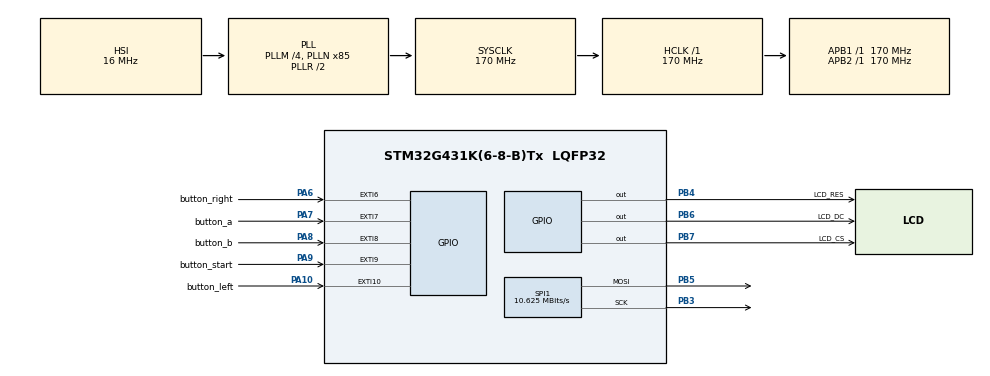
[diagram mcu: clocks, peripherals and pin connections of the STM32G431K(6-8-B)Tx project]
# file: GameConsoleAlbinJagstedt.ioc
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Dma.Request0=SPI1_TX
Dma.SPI1_TX.0.Direction=DMA_MEMORY_TO_PERIPH
Dma.SPI1_TX.0.EventEnable=DISABLE
Dma.SPI1_TX.0.Instance=DMA1_Channel2
Dma.SPI1_TX.0.MemDataAlignment=DMA_MDATAALIGN_BYTE
Dma.SPI1_TX.0.MemInc=DMA_MINC_ENABLE
Dma.SPI1_TX.0.Mode=DMA_NORMAL
Dma.SPI1_TX.0.PeriphDataAlignment=DMA_PDATAALIGN_BYTE
Dma.SPI1_TX.0.PeriphInc=DMA_PINC_DISABLE
Dma.SPI1_TX.0.Polarity=HAL_DMAMUX_REQ_GEN_RISING
Dma.SPI1_TX.0.Priority=DMA_PRIORITY_LOW
Dma.SPI1_TX.0.RequestNumber=1
Dma.SPI1_TX.0.SignalID=NONE
Dma.SPI1_TX.0.SyncEnable=DISABLE
Dma.SPI1_TX.0.SyncPolarity=HAL_DMAMUX_SYNC_NO_EVENT
Dma.SPI1_TX.0.SyncRequestNumber=1
Dma.SPI1_TX.0.SyncSignalID=NONE
Mcu.Family=STM32G4
Mcu.Name=STM32G431K(6-8-B)Tx
Mcu.Package=LQFP32
NUCLEO-G431KB.LD2=true
NUCLEO-G431KB.VCP=true
NVIC.DMA1_Channel2_IRQn=true\:0\:0\:false\:false\:true\:false\:true\:true
NVIC.EXTI15_10_IRQn=true\:0\:0\:false\:false\:true\:true\:true\:true
NVIC.EXTI9_5_IRQn=true\:0\:0\:false\:false\:true\:true\:true\:true
NVIC.PriorityGroup=NVIC_PRIORITYGROUP_4
NVIC.TIM6_DAC_IRQn=true\:0\:0\:false\:false\:true\:true\:true\:true
PA10.GPIO_Label=button_left
PA10.GPIO_ModeDefaultEXTI=GPIO_MODE_IT_FALLING
PA10.GPIO_PuPd=GPIO_PULLUP
PA10.Signal=GPXTI10
PA13.GPIO_Label=T_SWDIO
PA13.Signal=SYS_JTMS-SWDIO
PA14.GPIO_Label=T_SWCLK
PA14.Signal=SYS_JTCK-SWCLK
PA2.Signal=USART2_TX
PA3.Signal=USART2_RX
PA6.GPIO_Label=button_right
PA6.GPIO_ModeDefaultEXTI=GPIO_MODE_IT_FALLING
PA6.GPIO_PuPd=GPIO_PULLUP
PA6.Signal=GPXTI6
PA7.GPIO_Label=button_a
PA7.GPIO_ModeDefaultEXTI=GPIO_MODE_IT_FALLING
PA7.GPIO_PuPd=GPIO_PULLUP
PA7.Signal=GPXTI7
PA8.GPIO_Label=button_b
PA8.GPIO_ModeDefaultEXTI=GPIO_MODE_IT_FALLING
PA8.GPIO_PuPd=GPIO_PULLUP
PA8.Signal=GPXTI8
PA9.GPIO_Label=button_start
PA9.GPIO_ModeDefaultEXTI=GPIO_MODE_IT_FALLING
PA9.GPIO_PuPd=GPIO_PULLUP
PA9.Signal=GPXTI9
PB3.Mode=TX_Only_Simplex_Unidirect_Master
PB3.Signal=SPI1_SCK
PB4.GPIO_Label=LCD_RES
PB4.Signal=GPIO_Output
PB5.Mode=TX_Only_Simplex_Unidirect_Master
PB5.Signal=SPI1_MOSI
PB6.GPIO_Label=LCD_DC
PB6.Signal=GPIO_Output
PB7.GPIO_Label=LCD_CS
PB7.Signal=GPIO_Output
ProjectManager.HeapSize=0x200
ProjectManager.StackSize=0x400
ProjectManager.TargetToolchain=STM32CubeIDE
RCC.ADC12Freq_Value=170000000
RCC.AHBFreq_Value=170000000
RCC.APB1Freq_Value=170000000
RCC.APB1TimFreq_Value=170000000
RCC.APB2Freq_Value=170000000
RCC.APB2TimFreq_Value=170000000
RCC.CortexFreq_Value=170000000
RCC.EXTERNAL_CLOCK_VALUE=12288000
RCC.HCLKFreq_Value=170000000
RCC.HSE_VALUE=8000000
RCC.HSI48_VALUE=48000000
RCC.HSI_VALUE=16000000
RCC.LSE_VALUE=32768
RCC.PLLM=RCC_PLLM_DIV4
RCC.PLLN=85
RCC.SYSCLKFreq_VALUE=170000000
RCC.SYSCLKSource=RCC_SYSCLKSOURCE_PLLCLK
RCC.USBFreq_Value=170000000
RCC.VCOOutputFreq_Value=340000000
SPI1.BaudRatePrescaler=SPI_BAUDRATEPRESCALER_16
SPI1.CalculateBaudRate=10.625 MBits/s
SPI1.DataSize=SPI_DATASIZE_8BIT
SPI1.Direction=SPI_DIRECTION_2LINES
SPI1.Mode=SPI_MODE_MASTER
SPI1.NSSPMode=SPI_NSS_PULSE_DISABLE
SPI1.VirtualType=VM_MASTER
TIM6.PeriodNoDither=1699
TIM6.Prescaler=999
TIM7.PeriodNoDither=311
TIM7.Prescaler=16999
VP_NUCLEO-G431KB_VS_BSP_COMMON.Mode=COMMON
VP_SYS_VS_DBSignals.Mode=DisableDeadBatterySignals
VP_TIM6_VS_ClockSourceINT.Mode=Enable_Timer
VP_TIM7_VS_ClockSourceINT.Mode=Enable_Timer
board=NUCLEO-G431KB

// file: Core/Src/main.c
/* USER CODE BEGIN Header */
/**
  ******************************************************************************
  * @file           : main.c
  * @brief          : Main program body
  ******************************************************************************
  * @attention
  *
  * Copyright (c) 2026 STMicroelectronics.
  * All rights reserved.
  *
  * This software is licensed under terms that can be found in the LICENSE file
  * in the root directory of this software component.
  * If no LICENSE file comes with this software, it is provided AS-IS.
  *
  ******************************************************************************
  */
/* USER CODE END Header */
#include "main.h"

/* USER CODE BEGIN Includes */

#include "st7735.h"
#include "colors.h"
#include "input_handler.h"
#include "snake_game.h"

/* USER CODE END Includes */

COM_InitTypeDef BspCOMInit;

SPI_HandleTypeDef hspi1;
DMA_HandleTypeDef hdma_spi1_tx;

TIM_HandleTypeDef htim6;
TIM_HandleTypeDef htim7;

void SystemClock_Config(void);
static void MX_GPIO_Init(void);
static void MX_DMA_Init(void);
static void MX_TIM6_Init(void);
static void MX_SPI1_Init(void);
static void MX_TIM7_Init(void);

/* USER CODE BEGIN 0 */

void HAL_TIM_PeriodElapsedCallback(TIM_HandleTypeDef *htim){
	if(htim == &htim7)
		snake_game_timer_callback();
	if(htim == &htim6)
		input_handler_timer_callback();
}

void button_press(int button_index){
	switch(button_index){
		case 0:
			snake_game_left_button_pressed();
			break;
		case 1:
			snake_game_right_button_pressed();
			break;
		case 2:
			snake_game_a_button_pressed();
			break;
		case 3:
			snake_game_b_button_pressed();
			break;
		case 4:
			snake_game_start_button_pressed();
			break;
	}
}

/* USER CODE END 0 */

int main(void)
{

  /* MCU Configuration--------------------------------------------------------*/

  /* Reset of all peripherals, Initializes the Flash interface and the Systick. */
  HAL_Init();

  /* Configure the system clock */
  SystemClock_Config();

  /* Initialize all configured peripherals */
  MX_GPIO_Init();
  MX_DMA_Init();
  MX_TIM6_Init();
  MX_SPI1_Init();
  MX_TIM7_Init();
  /* USER CODE BEGIN 2 */

  ST7735_init();
  HAL_TIM_Base_Start_IT(&htim6);

  snake_game_init();

  /* USER CODE END 2 */

  /* Initialize leds */
  BSP_LED_Init(LED_GREEN);

  /* Initialize COM1 port (115200, 8 bits (7-bit data + 1 stop bit), no parity */
  BspCOMInit.BaudRate   = 115200;
  BspCOMInit.WordLength = COM_WORDLENGTH_8B;
  BspCOMInit.StopBits   = COM_STOPBITS_1;
  BspCOMInit.Parity     = COM_PARITY_NONE;
  BspCOMInit.HwFlowCtl  = COM_HWCONTROL_NONE;
  if (BSP_COM_Init(COM1, &BspCOMInit) != BSP_ERROR_NONE)
  {
    Error_Handler();
  }

  /* Infinite loop */
  while (1)
  {

  }
}

void SystemClock_Config(void)
{
  RCC_OscInitTypeDef RCC_OscInitStruct = {0};
  RCC_ClkInitTypeDef RCC_ClkInitStruct = {0};

  /** Configure the main internal regulator output voltage
  */
  HAL_PWREx_ControlVoltageScaling(PWR_REGULATOR_VOLTAGE_SCALE1_BOOST);

  /** Initializes the RCC Oscillators according to the specified parameters
  * in the RCC_OscInitTypeDef structure.
  */
  RCC_OscInitStruct.OscillatorType = RCC_OSCILLATORTYPE_HSI;
  RCC_OscInitStruct.HSIState = RCC_HSI_ON;
  RCC_OscInitStruct.HSICalibrationValue = RCC_HSICALIBRATION_DEFAULT;
  RCC_OscInitStruct.PLL.PLLState = RCC_PLL_ON;
  RCC_OscInitStruct.PLL.PLLSource = RCC_PLLSOURCE_HSI;
  RCC_OscInitStruct.PLL.PLLM = RCC_PLLM_DIV4;
  RCC_OscInitStruct.PLL.PLLN = 85;
  RCC_OscInitStruct.PLL.PLLP = RCC_PLLP_DIV2;
  RCC_OscInitStruct.PLL.PLLQ = RCC_PLLQ_DIV2;
  RCC_OscInitStruct.PLL.PLLR = RCC_PLLR_DIV2;
  if (HAL_RCC_OscConfig(&RCC_OscInitStruct) != HAL_OK)
  {
    Error_Handler();
  }

  /** Initializes the CPU, AHB and APB buses clocks
  */
  RCC_ClkInitStruct.ClockType = RCC_CLOCKTYPE_HCLK|RCC_CLOCKTYPE_SYSCLK
                              |RCC_CLOCKTYPE_PCLK1|RCC_CLOCKTYPE_PCLK2;
  RCC_ClkInitStruct.SYSCLKSource = RCC_SYSCLKSOURCE_PLLCLK;
  RCC_ClkInitStruct.AHBCLKDivider = RCC_SYSCLK_DIV1;
  RCC_ClkInitStruct.APB1CLKDivider = RCC_HCLK_DIV1;
  RCC_ClkInitStruct.APB2CLKDivider = RCC_HCLK_DIV1;

  if (HAL_RCC_ClockConfig(&RCC_ClkInitStruct, FLASH_LATENCY_4) != HAL_OK)
  {
    Error_Handler();
  }
}

static void MX_SPI1_Init(void)
{

  /* SPI1 parameter configuration*/
  hspi1.Instance = SPI1;
  hspi1.Init.Mode = SPI_MODE_MASTER;
  hspi1.Init.Direction = SPI_DIRECTION_2LINES;
  hspi1.Init.DataSize = SPI_DATASIZE_8BIT;
  hspi1.Init.CLKPolarity = SPI_POLARITY_LOW;
  hspi1.Init.CLKPhase = SPI_PHASE_1EDGE;
  hspi1.Init.NSS = SPI_NSS_SOFT;
  hspi1.Init.BaudRatePrescaler = SPI_BAUDRATEPRESCALER_16;
  hspi1.Init.FirstBit = SPI_FIRSTBIT_MSB;
  hspi1.Init.TIMode = SPI_TIMODE_DISABLE;
  hspi1.Init.CRCCalculation = SPI_CRCCALCULATION_DISABLE;
  hspi1.Init.CRCPolynomial = 7;
  hspi1.Init.CRCLength = SPI_CRC_LENGTH_DATASIZE;
  hspi1.Init.NSSPMode = SPI_NSS_PULSE_DISABLE;
  if (HAL_SPI_Init(&hspi1) != HAL_OK)
  {
    Error_Handler();
  }

}

static void MX_TIM6_Init(void)
{

  TIM_MasterConfigTypeDef sMasterConfig = {0};

  htim6.Instance = TIM6;
  htim6.Init.Prescaler = 999;
  htim6.Init.CounterMode = TIM_COUNTERMODE_UP;
  htim6.Init.Period = 1699;
  htim6.Init.AutoReloadPreload = TIM_AUTORELOAD_PRELOAD_DISABLE;
  if (HAL_TIM_Base_Init(&htim6) != HAL_OK)
  {
    Error_Handler();
  }
  sMasterConfig.MasterOutputTrigger = TIM_TRGO_RESET;
  sMasterConfig.MasterSlaveMode = TIM_MASTERSLAVEMODE_DISABLE;
  if (HAL_TIMEx_MasterConfigSynchronization(&htim6, &sMasterConfig) != HAL_OK)
  {
    Error_Handler();
  }

}

static void MX_TIM7_Init(void)
{

  TIM_MasterConfigTypeDef sMasterConfig = {0};

  htim7.Instance = TIM7;
  htim7.Init.Prescaler = 16999;
  htim7.Init.CounterMode = TIM_COUNTERMODE_UP;
  htim7.Init.Period = 311;
  htim7.Init.AutoReloadPreload = TIM_AUTORELOAD_PRELOAD_DISABLE;
  if (HAL_TIM_Base_Init(&htim7) != HAL_OK)
  {
    Error_Handler();
  }
  sMasterConfig.MasterOutputTrigger = TIM_TRGO_RESET;
  sMasterConfig.MasterSlaveMode = TIM_MASTERSLAVEMODE_DISABLE;
  if (HAL_TIMEx_MasterConfigSynchronization(&htim7, &sMasterConfig) != HAL_OK)
  {
    Error_Handler();
  }

}

static void MX_DMA_Init(void)
{

  /* DMA controller clock enable */
  __HAL_RCC_DMAMUX1_CLK_ENABLE();
  __HAL_RCC_DMA1_CLK_ENABLE();

  /* DMA interrupt init */
  /* DMA1_Channel2_IRQn interrupt configuration */
  HAL_NVIC_SetPriority(DMA1_Channel2_IRQn, 0, 0);
  HAL_NVIC_EnableIRQ(DMA1_Channel2_IRQn);

}

static void MX_GPIO_Init(void)
{
  GPIO_InitTypeDef GPIO_InitStruct = {0};

  /* GPIO Ports Clock Enable */
  __HAL_RCC_GPIOA_CLK_ENABLE();
  __HAL_RCC_GPIOB_CLK_ENABLE();

  /*Configure GPIO pin Output Level */
  HAL_GPIO_WritePin(GPIOB, LCD_RES_Pin|LCD_DC_Pin|LCD_CS_Pin, GPIO_PIN_RESET);

  /*Configure GPIO pins : button_right_Pin button_a_Pin button_b_Pin button_start_Pin
                           button_left_Pin */
  GPIO_InitStruct.Pin = button_right_Pin|button_a_Pin|button_b_Pin|button_start_Pin
                          |button_left_Pin;
  GPIO_InitStruct.Mode = GPIO_MODE_IT_FALLING;
  GPIO_InitStruct.Pull = GPIO_PULLUP;
  HAL_GPIO_Init(GPIOA, &GPIO_InitStruct);

  /*Configure GPIO pins : LCD_RES_Pin LCD_DC_Pin LCD_CS_Pin */
  GPIO_InitStruct.Pin = LCD_RES_Pin|LCD_DC_Pin|LCD_CS_Pin;
  GPIO_InitStruct.Mode = GPIO_MODE_OUTPUT_PP;
  GPIO_InitStruct.Pull = GPIO_NOPULL;
  GPIO_InitStruct.Speed = GPIO_SPEED_FREQ_LOW;
  HAL_GPIO_Init(GPIOB, &GPIO_InitStruct);

  /* EXTI interrupt init*/
  HAL_NVIC_SetPriority(EXTI9_5_IRQn, 0, 0);
  HAL_NVIC_EnableIRQ(EXTI9_5_IRQn);

  HAL_NVIC_SetPriority(EXTI15_10_IRQn, 0, 0);
  HAL_NVIC_EnableIRQ(EXTI15_10_IRQn);

}

/* USER CODE BEGIN Header */
/**
  ******************************************************************************
  * @file           : main.c
  * @brief          : Main program body
  ******************************************************************************
  * @attention
  *
  * Copyright (c) 2026 STMicroelectronics.
  * All rights reserved.
  *
  * This software is licensed under terms that can be found in the LICENSE file
  * in the root directory of this software component.
  * If no LICENSE file comes with this software, it is provided AS-IS.
  *
  ******************************************************************************
  */
/* USER CODE END Header */

void Error_Handler(void)
{
  __disable_irq();
  while (1)
  {
  }
}
